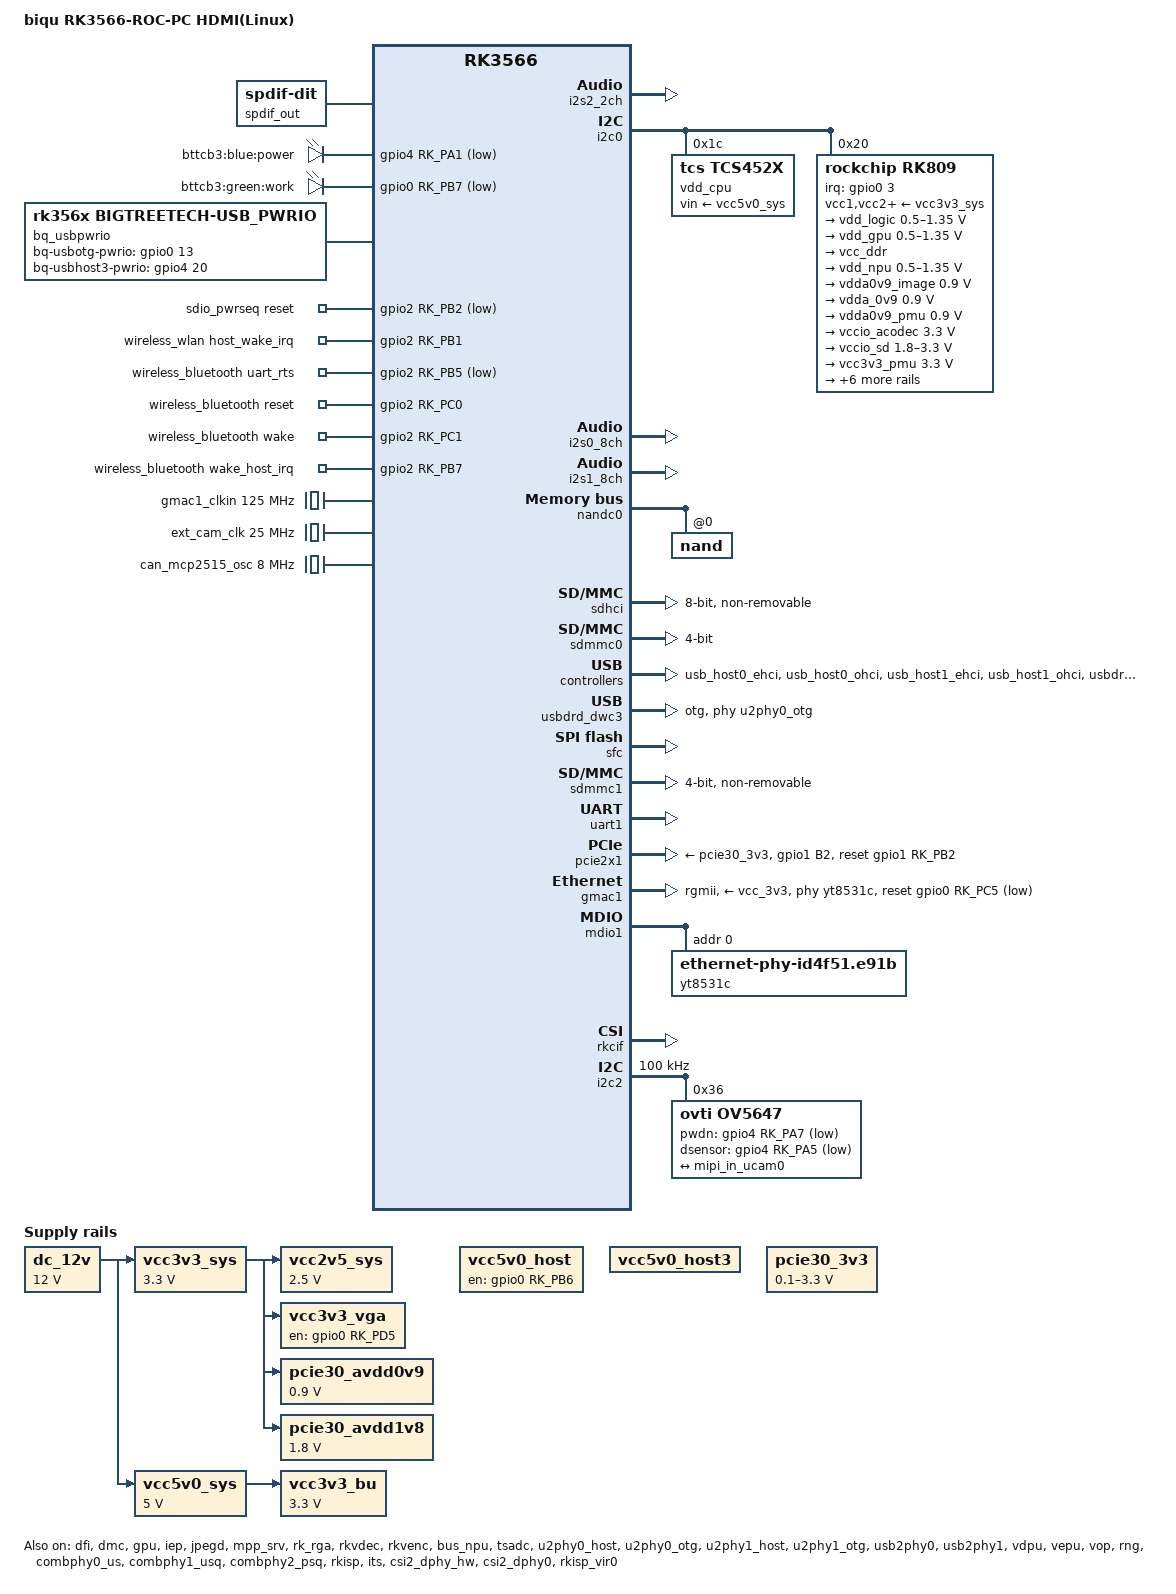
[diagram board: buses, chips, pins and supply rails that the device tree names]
// SPDX-License-Identifier: (GPL-2.0+ OR MIT)
/*
 * Copyright (c) 2021 Rockchip Electronics Co., Ltd.
 *
 */
// SPDX-License-Identifier: (GPL-2.0+ OR MIT)
/*
 * Copyright (c) 2020 Rockchip Electronics Co., Ltd.
 *
 */
 /dts-v1/;

#include <dt-bindings/gpio/gpio.h>
#include <dt-bindings/pwm/pwm.h>
#include <dt-bindings/pinctrl/rockchip.h>
#include <dt-bindings/input/rk-input.h>
#include <dt-bindings/display/drm_mipi_dsi.h>
#include <dt-bindings/sensor-dev.h>
#include "rk3568.dtsi"
#include "bq-cb2-display.dtsi"
#include "bq-cb2-hdmi.dtsi"
 

/ {

	model = "biqu RK3566-ROC-PC HDMI(Linux)";//(8)
	compatible = "rockchip,rk3566-biqu-cb2-pc", "rockchip,rk3566";//(8)

	aliases {
		ethernet0 = &gmac1;
		mmc0 = &sdmmc0;
		mmc1 = &sdhci;
		mmc2 = &sdmmc1;
	};

	dc_12v: dc-12v {
		compatible = "regulator-fixed";
		regulator-name = "dc_12v";
		regulator-always-on;
		regulator-boot-on;
		regulator-min-microvolt = <12000000>;
		regulator-max-microvolt = <12000000>;
	};
	
	rk809_sound: rk809-sound  {
		status = "okay";
		compatible = "simple-audio-card";
		simple-audio-card,format = "i2s";
		simple-audio-card,name = "rockchip,rk809-codec";
		simple-audio-card,mclk-fs = <256>;
		simple-audio-card,widgets =
		"Microphone", "Mic Jack",
		"Headphone", "Headphone Jack";
		simple-audio-card,routing =
		"Mic Jack", "MICBIAS1",
		"IN1R", "Mic Jack",
		"Headphone Jack", "HPOL",
		"Headphone Jack", "HPOR";
		simple-audio-card,cpu {
			sound-dai = <&i2s1_8ch>;
		};
		simple-audio-card,codec {
			sound-dai = <&rk809_codec>;
		};
	};
	
	bt-sound {
	
		compatible = "simple-audio-card";
		simple-audio-card,format = "dsp_b";
		simple-audio-card,bitclock-inversion = <1>;
		simple-audio-card,mclk-fs = <256>;
		simple-audio-card,name = "rockchip,bt";
		simple-audio-card,cpu {
			sound-dai = <&i2s2_2ch>; 

		};
		simple-audio-card,codec {
			sound-dai = <&bt_sco>;
		};
	};
	
	bt_sco: bt-sco {
		compatible = "delta,dfbmcs320";
		#sound-dai-cells = <0>;
		status = "okay";
	};
	
	spdif-sound {
		status = "okay";
		compatible = "simple-audio-card";
		simple-audio-card,name = "ROCKCHIP,SPDIF";
		simple-audio-card,cpu {
				sound-dai = <&spdif_8ch>;
		};
		simple-audio-card,codec {
				sound-dai = <&spdif_out>;
		};
	};

	spdif_out: spdif-out {
			status = "okay";
			compatible = "linux,spdif-dit";
			#sound-dai-cells = <0>;
	};

	vad_sound: vad-sound {
		status = "disabled";
		compatible = "rockchip,multicodecs-card";
		rockchip,card-name = "rockchip,rk3568-vad";
		rockchip,cpu = <&i2s1_8ch>;
		rockchip,codec = <&rk809_codec>, <&vad>;
	};

	vcc3v3_sys: vcc3v3-sys {
		compatible = "regulator-fixed";
		regulator-name = "vcc3v3_sys";
		regulator-always-on;
		regulator-boot-on;
		regulator-min-microvolt = <3300000>;
		regulator-max-microvolt = <3300000>;
		vin-supply = <&dc_12v>;
	};

	vcc5v0_sys: vcc5v0-sys {
		compatible = "regulator-fixed";
		regulator-name = "vcc5v0_sys";
		regulator-always-on;
		regulator-boot-on;
		regulator-min-microvolt = <5000000>;
		regulator-max-microvolt = <5000000>;
		vin-supply = <&dc_12v>;
	};

	vcc5v0_host: vcc5v0-host-regulator {
		compatible = "regulator-fixed";
		enable-active-high;
		gpio = <&gpio0 RK_PB6 GPIO_ACTIVE_HIGH>; //,<&gpio4 RK_PC6 GPIO_ACTIVE_HIGH>
		pinctrl-names = "default";
		//pinctrl-0 = <&vcc5v0_host_en>;
		pinctrl-0 = <&vcc5v0_host_vbus_en>;
		regulator-name = "vcc5v0_host";
		regulator-boot-on;
		regulator-always-on;
		
	};
	
    bttcb3_leds: leds {
       compatible = "gpio-leds";
       pi_led: power {
           label = "bttcb3:blue:power";
           linux,default-trigger = "";
           default-state = "on";
           gpios = <&gpio4 RK_PA1 GPIO_ACTIVE_LOW>;
           pinctrl-names = "default";
           pinctrl-0 = <&pi_power>;
       };

       work_led: work {
           label = "bttcb3:green:work";
           linux,default-trigger = "ir-user-click";
           default-state = "heartbeat";
           gpios = <&gpio0 RK_PB7 GPIO_ACTIVE_LOW>;
           pinctrl-names = "default";
           pinctrl-0 = <&working_led>;
       };
   };
	
	vcc5v0_host3: vcc5v0-host3-regulator {
		compatible = "regulator-fixed";
		enable-active-high;
		//gpio = <&gpio4 RK_PC6 GPIO_ACTIVE_HIGH>;
		pinctrl-names = "default";
		//pinctrl-0 = <&vcc5v0_host_en>;
		pinctrl-0 = <&vcc5v0_host3_vbus_en>;
		regulator-name = "vcc5v0_host";
		regulator-boot-on;
		regulator-always-on;
		
	};

	vcc5v0_otg: vcc5v0-otg-regulator {
		compatible = "regulator-fixed";
		enable-active-high;
		gpio = <&gpio0 RK_PA5 GPIO_ACTIVE_HIGH>;
		pinctrl-names = "default";
		pinctrl-0 = <&vcc5v0_otg_en>;
		regulator-name = "vcc5v0_otg";
	};

    bq_usbpwrio: bq_usbpwrio {
        status = "okay";
        compatible = "rk356x,bigtreetech-usb_pwrio";
		bq-usbotg-pwrio = <&gpio0 13 GPIO_ACTIVE_HIGH>;          /* GPIO0_B5 */
        bq-usbhost3-pwrio = <&gpio4 20 GPIO_ACTIVE_HIGH>;          /* GPIO4_C4 */    
    };

	fiq-debugger {
		compatible = "rockchip,fiq-debugger";
		rockchip,serial-id = <2>;
		rockchip,wake-irq = <0>;
		/* If enable uart uses irq instead of fiq */
		rockchip,irq-mode-enable = <1>;
		rockchip,baudrate = <1500000>;  /* Only 115200 and 1500000 */
		interrupts = <GIC_SPI 252 IRQ_TYPE_LEVEL_LOW>;
		pinctrl-names = "default";
		pinctrl-0 = <&uart2m0_xfer>;
		status = "okay";
	};

	debug: debug@fd904000 {
		compatible = "rockchip,debug";
		reg = <0x0 0xfd904000 0x0 0x1000>,
			<0x0 0xfd905000 0x0 0x1000>,
			<0x0 0xfd906000 0x0 0x1000>,
			<0x0 0xfd907000 0x0 0x1000>;
	};

	cspmu: cspmu@fd90c000 {
		compatible = "rockchip,cspmu";
		reg = <0x0 0xfd90c000 0x0 0x1000>,
			<0x0 0xfd90d000 0x0 0x1000>,
			<0x0 0xfd90e000 0x0 0x1000>,
			<0x0 0xfd90f000 0x0 0x1000>;
	};
	
//	rk_headset: rk-headset {
//		compatible = "rockchip_headset";
//		headset_gpio = <&gpio0 RK_PC6 GPIO_ACTIVE_HIGH>;
//		pinctrl-names = "default";
//		pinctrl-0 = <&hp_det>;
//		//io-channels = <&saradc 3>;	//HP_HOOK
//	};

	vcc2v5_sys: vcc2v5-ddr {
		compatible = "regulator-fixed";
		regulator-name = "vcc2v5-sys";
		regulator-always-on;
		regulator-boot-on;
		regulator-min-microvolt = <2500000>;
		regulator-max-microvolt = <2500000>;
		vin-supply = <&vcc3v3_sys>;
	};

	vcc3v3_vga: vcc3v3-vga {
		compatible = "regulator-fixed";
		regulator-name = "vcc3v3_vga";
		regulator-always-on;
		regulator-boot-on;
		gpio = <&gpio0 RK_PD5 GPIO_ACTIVE_HIGH>;
		enable-active-high;
		vin-supply = <&vcc3v3_sys>;
	};

	pcie30_avdd0v9: pcie30-avdd0v9 {
		compatible = "regulator-fixed";
		regulator-name = "pcie30_avdd0v9";
		regulator-always-on;
		regulator-boot-on;
		regulator-min-microvolt = <900000>;
		regulator-max-microvolt = <900000>;
		vin-supply = <&vcc3v3_sys>;
	};

	pcie30_avdd1v8: pcie30-avdd1v8 {
		compatible = "regulator-fixed";
		regulator-name = "pcie30_avdd1v8";
		regulator-always-on;
		regulator-boot-on;
		regulator-min-microvolt = <1800000>;
		regulator-max-microvolt = <1800000>;
		vin-supply = <&vcc3v3_sys>;
	};

	pcie30_3v3: gpio-regulator {
		compatible = "regulator-gpio";
		regulator-name = "pcie30_3v3";
		regulator-min-microvolt = <100000>;
		regulator-max-microvolt = <3300000>;
		gpios = <&gpio0 RK_PD4 GPIO_ACTIVE_HIGH>;
		gpios-states = <0x1>;
		states = <100000 0x0
			  3300000 0x1>;
	};

	vcc3v3_bu: vcc3v3-bu {
		compatible = "regulator-fixed";
		regulator-name = "vcc3v3_bu";
		regulator-always-on;
		regulator-boot-on;
		regulator-min-microvolt = <3300000>;
		regulator-max-microvolt = <3300000>;
		vin-supply = <&vcc5v0_sys>;
	};

	sdio_pwrseq: sdio-pwrseq {
		compatible = "mmc-pwrseq-simple";
		clocks = <&rk809 1>;
		clock-names = "ext_clock";
		pinctrl-names = "default";
		pinctrl-0 = <&wifi_enable_h>;
		/*
			* On the module itself this is one of these (depending
			* on the actual card populated):
			* - SDIO_RESET_L_WL_REG_ON
			* - PDN (power down when low)
		*/
		reset-gpios = <&gpio2 RK_PB2 GPIO_ACTIVE_LOW>;//cb2-v2 <&gpio0 RK_PA5 GPIO_ACTIVE_LOW>;
	};

	wireless_wlan: wireless-wlan {
		compatible = "wlan-platdata";
		rockchip,grf = <&grf>;
		wifi_chip_type = "ap6398s";//"rtl8733bs";
		pinctrl-names = "default";
		pinctrl-0 = <&wifi_host_wake_irq>;
		WIFI,host_wake_irq = <&gpio2 RK_PB1 GPIO_ACTIVE_HIGH>;//WIFI模块唤醒CPU的 cb2-v2 <&gpio0 RK_PC5 GPIO_ACTIVE_HIGH>;
		status = "okay";
	};
	
//	##############
wireless_bluetooth: wireless-bluetooth {
    compatible = "bluetooth-platdata";
    clocks = <&rk809 1>;
    clock-names = "ext_clock";
    uart_rts_gpios = <&gpio2 RK_PB5 GPIO_ACTIVE_LOW>;
    pinctrl-names = "default", "rts_gpio";
    pinctrl-0 = <&uart1m0_rtsn
        &bt_host_wake_gpio
        &bt_poweren
        &bt_host_wake_irq>;
    pinctrl-1 = <&uart1_rts_gpio>;
    //BT,reset_gpio    = <&gpio2 RK_PB7 GPIO_ACTIVE_HIGH>;
	BT,reset_gpio    = <&gpio2 RK_PC0 GPIO_ACTIVE_HIGH>;
    BT,wake_gpio     = <&gpio2 RK_PC1 GPIO_ACTIVE_HIGH>;
    //BT,wake_host_irq = <&gpio2 RK_PC0 GPIO_ACTIVE_HIGH>;
	BT,wake_host_irq = <&gpio2 RK_PB7 GPIO_ACTIVE_HIGH>;

    status = "okay";
};
	
//	##################
aliases {
		/delete-property/ ethernet0;
};

sd_vcc3v3_power: sd-vcc3v3-power {
		status = "disabled";
        compatible = "regulator-fixed";
        enable-active-high;
        gpio = <&gpio0 RK_PA5 GPIO_ACTIVE_HIGH>;
        pinctrl-names = "default";
        pinctrl-0 = <&sd_vcc3v3_power_en>;
        regulator-name = "sd_vcc3v3_power_en";
        regulator-min-microvolt = <3300000>;
        regulator-max-microvolt = <3300000>;
        regulator-always-on;
        regulator-boot-on;
        regulator-state-mem {
            regulator-off-in-suspend;
        };
   };

   	gmac1_clkin: external-gmac1-clock {
		compatible = "fixed-clock";
		clock-frequency = <125000000>;
		clock-output-names = "gmac1_clkin";
		#clock-cells = <0>;
	};

	ext_cam_clk: ext-cam-clk {
		status = "okay";
		compatible = "fixed-clock";
		clock-frequency = <25000000>;
		clock-output-names = "ext_cam_clk";
		#clock-cells = <0>;
	};
	can_mcp2515_osc: can-mcp2515-osc {
		compatible = "fixed-clock";
		clock-frequency = <8000000>;
		#clock-cells = <0>;
	};

};

&i2s2_2ch {
	#sound-dai-cells = <0>;
	status = "okay";
};

&cpu0 {
	cpu-supply = <&vdd_cpu>;
};

&dfi {
	status = "okay";
};

&dmc {
	center-supply = <&vdd_logic>;
	status = "okay";
};

&gpu {
	mali-supply = <&vdd_gpu>;
	status = "okay";
};

&i2c0 {
	status = "okay";

	vdd_cpu: tcs4525@1c {
		compatible = "tcs,tcs452x";
		reg = <0x1c>;
		vin-supply = <&vcc5v0_sys>;
		regulator-compatible = "fan53555-reg";
		regulator-name = "vdd_cpu";
		regulator-min-microvolt = <712500>;
		regulator-max-microvolt = <1390000>;
		regulator-ramp-delay = <2300>;
		fcs,suspend-voltage-selector = <1>;
		regulator-boot-on;
		regulator-always-on;
		regulator-state-mem {
			regulator-off-in-suspend;
		};
	};

	rk809: pmic@20 {
		compatible = "rockchip,rk809";
		reg = <0x20>;
		interrupt-parent = <&gpio0>;
		interrupts = <3 IRQ_TYPE_LEVEL_LOW>;

		pinctrl-names = "default", "pmic-sleep",
				"pmic-power-off", "pmic-reset";
		pinctrl-0 = <&pmic_int>;
		pinctrl-1 = <&soc_slppin_slp>, <&rk817_slppin_slp>;
		pinctrl-2 = <&soc_slppin_gpio>, <&rk817_slppin_pwrdn>;
		pinctrl-3 = <&soc_slppin_gpio>, <&rk817_slppin_rst>;

		rockchip,system-power-controller;
		wakeup-source;
		#clock-cells = <1>;
		clock-output-names = "rk808-clkout1", "rk808-clkout2";
		//fb-inner-reg-idxs = <2>;
		/* 1: rst regs (default in codes), 0: rst the pmic */
		pmic-reset-func = <0>;
		/* not save the PMIC_POWER_EN register in uboot */
		not-save-power-en = <1>;

		vcc1-supply = <&vcc3v3_sys>;
		vcc2-supply = <&vcc3v3_sys>;
		vcc3-supply = <&vcc3v3_sys>;
		vcc4-supply = <&vcc3v3_sys>;
		vcc5-supply = <&vcc3v3_sys>;
		vcc6-supply = <&vcc3v3_sys>;
		vcc7-supply = <&vcc3v3_sys>;
		vcc8-supply = <&vcc3v3_sys>;
		vcc9-supply = <&vcc3v3_sys>;

		pwrkey {
			status = "okay";
		};

		pinctrl_rk8xx: pinctrl_rk8xx {
			gpio-controller;
			#gpio-cells = <2>;

			rk817_slppin_null: rk817_slppin_null {
				pins = "gpio_slp";
				function = "pin_fun0";
			};

			rk817_slppin_slp: rk817_slppin_slp {
				pins = "gpio_slp";
				function = "pin_fun1";
			};

			rk817_slppin_pwrdn: rk817_slppin_pwrdn {
				pins = "gpio_slp";
				function = "pin_fun2";
			};

			rk817_slppin_rst: rk817_slppin_rst {
				pins = "gpio_slp";
				function = "pin_fun3";
			};
		};

		regulators {
			vdd_logic: DCDC_REG1 {
				regulator-always-on;
				regulator-boot-on;
				regulator-min-microvolt = <500000>;
				regulator-max-microvolt = <1350000>;
				regulator-init-microvolt = <900000>;
				regulator-ramp-delay = <6001>;
				regulator-initial-mode = <0x2>;
				regulator-name = "vdd_logic";
				regulator-state-mem {
					regulator-off-in-suspend;
				};
			};

			vdd_gpu: DCDC_REG2 {
				regulator-always-on;
				regulator-boot-on;
				regulator-min-microvolt = <500000>;
				regulator-max-microvolt = <1350000>;
				regulator-init-microvolt = <900000>;
				regulator-ramp-delay = <6001>;
				regulator-initial-mode = <0x2>;
				regulator-name = "vdd_gpu";
				regulator-state-mem {
					regulator-off-in-suspend;
				};
			};

			vcc_ddr: DCDC_REG3 {
				regulator-always-on;
				regulator-boot-on;
				regulator-initial-mode = <0x2>;
				regulator-name = "vcc_ddr";
				regulator-state-mem {
					regulator-on-in-suspend;
				};
			};

			vdd_npu: DCDC_REG4 {
				regulator-always-on;
				regulator-boot-on;
				regulator-min-microvolt = <500000>;
				regulator-max-microvolt = <1350000>;
				regulator-init-microvolt = <900000>;
				regulator-ramp-delay = <6001>;
				regulator-initial-mode = <0x2>;
				regulator-name = "vdd_npu";
				regulator-state-mem {
					regulator-off-in-suspend;
				};
			};

			vdda0v9_image: LDO_REG1 {
				regulator-boot-on;
				regulator-always-on;
				regulator-min-microvolt = <900000>;
				regulator-max-microvolt = <900000>;
				regulator-name = "vdda0v9_image";
				regulator-state-mem {
					regulator-off-in-suspend;
				};
			};

			vdda_0v9: LDO_REG2 {
				regulator-always-on;
				regulator-boot-on;
				regulator-min-microvolt = <900000>;
				regulator-max-microvolt = <900000>;
				regulator-name = "vdda_0v9";
				regulator-state-mem {
					regulator-off-in-suspend;
				};
			};

			vdda0v9_pmu: LDO_REG3 {
				regulator-always-on;
				regulator-boot-on;
				regulator-min-microvolt = <900000>;
				regulator-max-microvolt = <900000>;
				regulator-name = "vdda0v9_pmu";
				regulator-state-mem {
					regulator-on-in-suspend;
					regulator-suspend-microvolt = <900000>;
				};
			};

			vccio_acodec: LDO_REG4 {
				regulator-always-on;
				regulator-boot-on;
				regulator-min-microvolt = <3300000>;
				regulator-max-microvolt = <3300000>;
				regulator-name = "vccio_acodec";
				regulator-state-mem {
					regulator-off-in-suspend;
				};
			};

			vccio_sd: LDO_REG5 {
				regulator-always-on;
				regulator-boot-on;
				regulator-min-microvolt = <1800000>;
				regulator-max-microvolt = <3300000>;
				regulator-name = "vccio_sd";
				regulator-state-mem {
					regulator-off-in-suspend;
				};
			};

			vcc3v3_pmu: LDO_REG6 {
				regulator-always-on;
				regulator-boot-on;
				regulator-min-microvolt = <3300000>;
				regulator-max-microvolt = <3300000>;
				regulator-name = "vcc3v3_pmu";
				regulator-state-mem {
					regulator-on-in-suspend;
					regulator-suspend-microvolt = <3300000>;
				};
			};

			vcca_1v8: LDO_REG7 {
				regulator-always-on;
				regulator-boot-on;
				regulator-min-microvolt = <1800000>;
				regulator-max-microvolt = <1800000>;
				regulator-name = "vcca_1v8";
				regulator-state-mem {
					regulator-off-in-suspend;
				};
			};

			vcca1v8_pmu: LDO_REG8 {
				regulator-always-on;
				regulator-boot-on;
				regulator-min-microvolt = <1800000>;
				regulator-max-microvolt = <1800000>;
				regulator-name = "vcca1v8_pmu";
				regulator-state-mem {
					regulator-on-in-suspend;
					regulator-suspend-microvolt = <1800000>;
				};
			};

			vcca1v8_image: LDO_REG9 {
				regulator-always-on;
				regulator-boot-on;
				regulator-min-microvolt = <1800000>;
				regulator-max-microvolt = <1800000>;
				regulator-name = "vcca1v8_image";
				regulator-state-mem {
					regulator-off-in-suspend;
				};
			};

			vcc_1v8: DCDC_REG5 {
				regulator-always-on;
				regulator-boot-on;
				regulator-min-microvolt = <1800000>;
				regulator-max-microvolt = <1800000>;
				regulator-name = "vcc_1v8";
				regulator-state-mem {
					regulator-off-in-suspend;
				};
			};

			vcc_3v3: SWITCH_REG1 {
				regulator-always-on;
				regulator-boot-on;
				regulator-name = "vcc_3v3";
				regulator-state-mem {
					regulator-off-in-suspend;
				};
			};

			vcc3v3_sd: SWITCH_REG2 {
				regulator-always-on;
				regulator-boot-on;
				regulator-name = "vcc3v3_sd";
				regulator-state-mem {
					regulator-off-in-suspend;
				};
			};
		};
		
		rk809_codec: codec {
			#sound-dai-cells = <0>;
			compatible = "rockchip,rk809-codec", "rockchip,rk817-codec";
			clocks = <&cru I2S1_MCLKOUT>;
			clock-names = "mclk";
			assigned-clocks = <&cru I2S1_MCLKOUT>, <&cru I2S1_MCLK_TX_IOE>;
			assigned-clock-rates = <12288000>;
			assigned-clock-parents = <&cru I2S1_MCLKOUT_TX>, <&cru I2S1_MCLKOUT_TX>;
			pinctrl-names = "default";
			pinctrl-0 = <&i2s1m0_mclk>;
			hp-volume = <20>;
			spk-volume = <3>;
			mic-in-differential;
			status = "okay";
		};
		
		
	};
};

&i2s0_8ch {
	status = "okay";
};

&i2s1_8ch {
	status = "okay";
	rockchip,clk-trcm = <1>;
	pinctrl-names = "default";
	pinctrl-0 = <&i2s1m0_sclktx
		     &i2s1m0_lrcktx
		     &i2s1m0_sdi0
		     &i2s1m0_sdo0>;
};

&iep {
	status = "okay";
};

&iep_mmu {
	status = "okay";
};

&jpegd {
	status = "okay";
};

&jpegd_mmu {
	status = "okay";
};

&mpp_srv {
	status = "okay";
};

&nandc0 {
	#address-cells = <1>;
	#size-cells = <0>;
	status = "okay";

	nand@0 {
		reg = <0>;
		nand-bus-width = <8>;
		nand-ecc-mode = "hw";
		nand-ecc-strength = <16>;
		nand-ecc-step-size = <1024>;
	};
};

&pmu_io_domains {
	status = "okay";
	pmuio1-supply = <&vcc3v3_pmu>;
	pmuio2-supply = <&vcc3v3_pmu>;
	vccio1-supply = <&vccio_acodec>;
	vccio3-supply = <&vccio_sd>;
	vccio4-supply = <&vcc_1v8>;
	vccio5-supply = <&vcc_3v3>;
	vccio6-supply = <&vcc_3v3>;
	vccio7-supply = <&vcc_3v3>;
};

&rk_rga {
	status = "okay";
};

&rkvdec {
	status = "okay";
};

&rkvdec_mmu {
	status = "okay";
};

&rkvenc {
	venc-supply = <&vdd_logic>;
	status = "okay";
};

&rkvenc_mmu {
	status = "okay";
};

&rknpu {
	rknpu-supply = <&vdd_npu>;
	status = "disabled";
};

&rknpu_mmu {
	status = "disabled";
};

&bus_npu {
	bus-supply = <&vdd_logic>;
	pvtm-supply = <&vdd_cpu>;
	status = "okay";
};

//&saradc {
//	status = "okay";
//	vref-supply = <&vcca_1v8>;
//};

&sdhci {
	bus-width = <8>;
	supports-emmc;
	non-removable;
	max-frequency = <200000000>;
	status = "okay";
};

&sdmmc0 {
	max-frequency = <150000000>;
	supports-sd;
	bus-width = <4>;
	cap-mmc-highspeed;
	cap-sd-highspeed;
	disable-wp;
	sd-uhs-sdr104;
	vmmc-supply = <&vcc3v3_sd>;
	vqmmc-supply = <&vccio_sd>;
	pinctrl-names = "default";
	pinctrl-0 = <&sdmmc0_bus4 &sdmmc0_clk &sdmmc0_cmd &sdmmc0_det>;
	status = "okay";
};

&spdif_8ch {
	status = "okay";
};

&tsadc {
	status = "okay";
};

&u2phy0_host {
	phy-supply = <&vcc5v0_host>,<&vcc5v0_host3>;
	status = "okay";
};

&u2phy0_otg {
	vbus-supply = <&vcc5v0_otg>;
	status = "okay";
};

&u2phy1_host {
	phy-supply = <&vcc5v0_host>;
	status = "okay";
};

&u2phy1_otg {
	phy-supply = <&vcc5v0_host>;
	status = "okay";
};

&usb2phy0 {
	status = "okay";
};

&usb2phy1 {
	status = "okay";
};

&usb_host0_ehci {
	status = "okay";
};

&usb_host0_ohci {
	status = "okay";
};

&usb_host1_ehci {
	status = "okay";
};

&usb_host1_ohci {
	status = "okay";
};

&usbdrd_dwc3 {
	dr_mode = "otg";
	extcon = <&usb2phy0>;
	status = "okay";
};

&usbdrd30 {
	status = "okay";
};

&usbhost_dwc3 {
	status = "okay";
};

&usbhost30 {
	status = "okay";
};

&vad {
	rockchip,audio-src = <&i2s1_8ch>;
	rockchip,buffer-time-ms = <128>;
	rockchip,det-channel = <0>;
	rockchip,mode = <0>;
};

&vdpu {
	status = "okay";
};

&vdpu_mmu {
	status = "okay";
};

&vepu {
	status = "okay";
};

&vepu_mmu {
	status = "okay";
};

&vop {
	status = "okay";
	assigned-clocks = <&cru DCLK_VOP0>, <&cru DCLK_VOP1>;
	assigned-clock-parents = <&pmucru PLL_HPLL>, <&cru PLL_VPLL>;
	disable-win-move;

};

&vop_mmu {
	status = "okay";
};

&pinctrl {

	pmic {
		pmic_int: pmic_int {
			rockchip,pins =
				<0 RK_PA3 RK_FUNC_GPIO &pcfg_pull_up>;
		};

		soc_slppin_gpio: soc_slppin_gpio {
			rockchip,pins =
				<0 RK_PA2 RK_FUNC_GPIO &pcfg_output_low_pull_down>;
		};

		soc_slppin_slp: soc_slppin_slp {
			rockchip,pins =
				<0 RK_PA2 RK_FUNC_1 &pcfg_pull_up>;
		};

		soc_slppin_rst: soc_slppin_rst {
			rockchip,pins =
				<0 RK_PA2 RK_FUNC_2 &pcfg_pull_none>;
		};

		spk_ctl_gpio: spk_ctl_gpio {
			rockchip,pins = <3 RK_PC5 RK_FUNC_GPIO &pcfg_pull_up>;
		};
	};

	usb {

		vcc5v0_otg_en: vcc5v0-otg-en {
			//rockchip,pins = <0 RK_PA5 RK_FUNC_GPIO &pcfg_pull_none>;
			rockchip,pins = <0 RK_PB5 RK_FUNC_GPIO &pcfg_pull_none>;
		};

		vcc5v0_host_vbus_en: vcc5v0-host-en {
			//rockchip,pins = <0 RK_PA6 RK_FUNC_GPIO &pcfg_pull_none>;
			rockchip,pins = <0 RK_PB6 RK_FUNC_GPIO &pcfg_pull_none>;
		};
		
//		vcc5v0_host2_vbus_en: vcc5v0-host2-en {
//			//rockchip,pins = <0 RK_PA6 RK_FUNC_GPIO &pcfg_pull_none>;
//			rockchip,pins = <4 RK_PC5 RK_FUNC_GPIO &pcfg_pull_none>;
//		};
		
		vcc5v0_host3_vbus_en: vcc5v0-host3-en {
			//rockchip,pins = <0 RK_PA6 RK_FUNC_GPIO &pcfg_pull_none>;
			rockchip,pins = <4 RK_PC6 RK_FUNC_GPIO &pcfg_pull_none>;
		};
	};

//	headphone {
//		hp_det: hp-det {
//			rockchip,pins = <0 RK_PC6 RK_FUNC_GPIO &pcfg_pull_down>;
//		};
//	};

	sdio-pwrseq {
		wifi_enable_h: wifi-enable-h {
			rockchip,pins =<2 RK_PB2 RK_FUNC_GPIO &pcfg_pull_none>;// cb2-v2 <0 RK_PA5 RK_FUNC_GPIO &pcfg_pull_none>;
		};
	};

	wireless-wlan {
		wifi_host_wake_irq: wifi-host-wake-irq {
			rockchip,pins = <2 RK_PB1 RK_FUNC_GPIO &pcfg_pull_down>;//cb2-v2 <0 RK_PC5 RK_FUNC_GPIO &pcfg_pull_down>;
		};
	};

	touch {
		touch_gpio: touch-gpio {
			rockchip,pins =
				<0 RK_PB5 RK_FUNC_GPIO &pcfg_pull_up>,
				<0 RK_PB6 RK_FUNC_GPIO &pcfg_pull_none>;
		};
	};

	mxc6655xa {
		mxc6655xa_irq_gpio: mxc6655xa_irq_gpio {
			rockchip,pins = <RK_GPIO3 RK_PC1 RK_FUNC_GPIO &pcfg_pull_none>;
		};
	};

	sd {
		sd_vcc3v3_power_en: sd-vcc3v3-power-en {
			rockchip,pins = <0 RK_PA5 RK_FUNC_GPIO &pcfg_pull_none>;
		};
	};

	wireless-bluetooth {
        uart1_rts_gpio: uart1-rts-gpio {
            rockchip,pins = <2  RK_PB5 RK_FUNC_GPIO &pcfg_pull_none>;
        };

        bt_host_wake_irq: bt-host-wake-irq {
           // rockchip,pins = <2 RK_PC0 RK_FUNC_GPIO &pcfg_pull_down>; pi2-v3
		   rockchip,pins = <2 RK_PB7 RK_FUNC_GPIO &pcfg_pull_down>;
        };
        bt_host_wake_gpio: bt-host-wake-gpio {
            rockchip,pins = <2 RK_PC1 RK_FUNC_GPIO &pcfg_pull_down>;
        };
        bt_poweren: bt-poweren {
           // rockchip,pins = <2 RK_PB7 RK_FUNC_GPIO &pcfg_pull_down>;
		   rockchip,pins = <2 RK_PC0 RK_FUNC_GPIO &pcfg_pull_down>;
        };
    };
	

	pcie {
		pcie_reset_gpio: pcie-reset-gpio {
				rockchip,pins = <1 RK_PB2 RK_FUNC_GPIO &pcfg_pull_none>;
			};
	};


	
	leds {
        pi_power: pi-power {
            rockchip,pins = <4 RK_PA1 RK_FUNC_GPIO &pcfg_pull_none>;
        };

        working_led: working-led {
            rockchip,pins = <0 RK_PB7 RK_FUNC_GPIO &pcfg_pull_none>;
        };
    };

};

&reserved_memory {
	ramoops: ramoops@110000 {
		compatible = "ramoops";
		reg = <0x0 0x110000 0x0 0xf0000>;
		record-size = <0x20000>;
		console-size = <0x80000>;
		ftrace-size = <0x00000>;
		pmsg-size = <0x50000>;
	};
};

&rng {
	status = "okay";
};

&rockchip_suspend {
	status = "okay";
};

&combphy0_us {
	status = "okay";
};

&combphy1_usq {
	status = "okay";
};

&combphy2_psq {
	status = "okay";
};

&pcie30phy {
	status = "disabled";
};

&pcie3x2 {
	reset-gpios = <&gpio2 RK_PD6 GPIO_ACTIVE_HIGH>;
	vpcie3v3-supply = <&pcie30_3v3>;
	status = "disabled";
};

&sata2 {
	status = "disabled";
};


&spdif_8ch {
	status = "disabled";
	pinctrl-names = "default";
	pinctrl-0 = <&spdifm1_tx>;
};

&spi1 {
	status = "disabled";
	max-freq = <10000000>;
	pinctrl-0=<&spi1m1_pins>;
	#address-cells = <1>;
	#size-cells = <0>;
	cs-gpios = <&gpio4 RK_PC6 GPIO_ACTIVE_LOW>,
			<&gpio3 RK_PA1 GPIO_ACTIVE_LOW>,
			<&gpio4 RK_PA2 GPIO_ACTIVE_LOW>;
	can_mcp2515: can-mcp2515@0 {
		status = "disabled";
		compatible = "microchip,mcp2515";
		reg = <0>;
		interrupt-parent = <&gpio4>;
		interrupts = <RK_PA3 IRQ_TYPE_LEVEL_LOW>;
		spi-max-frequency = <1000000>;
		clocks = <&can_mcp2515_osc>;
		vdd-supply = <&vcc3v3_sys>;
		xceiver-supply = <&vcc3v3_sys>;
		pinctrl-names = "default";
		pinctrl-0 = <&mcp2515_int_pin>;
	};

	tft_35: st7789v@1 {
		status = "disabled";
		compatible = "sitronix,st7796s";
		reg = <1>;
		spi-max-frequency =<12500000>;
		fps =<60>;
		buswidth = <8>;
		rotate =<0>;
		width = <480>;
		height = <320>;
		bpp = <24>;
		bgr;
		regwidth = <8>;
		debug = <0x00>;	 //0x20 show fps
		txbuflen = <8192>;
		spi-cpol;
		spi-cpha;
		dc-gpios  = <&gpio0 RK_PC7 GPIO_ACTIVE_HIGH>;
	};
	
	mcp2515_int_pin {
		mcp2515_int_pin: mcp2515_int_pin {
			rockchip,pins = <4 RK_PA3 RK_FUNC_GPIO &pcfg_pull_up>;
		};
	};
};

&spi2 {
	status = "disabled";
	max-freq = <10000000>;
	pinctrl-0=<&spi2m0_pins>;
};

&spi3 {
	status = "disabled";
	max-freq = <10000000>;
	pinctrl-0=<&spi3m1_pins>;
};

&i2c3{
	status = "disabled";
	pinctrl-names = "default";
  	pinctrl-0 = <&i2c3m0_xfer>;
	tft_tp: ns2009@48 {
		compatible = "ti,tsc2007";
		reg = <0x48>;
		status = "okay";
		ti,x-plate-ohms = <660>;
		ti,rt-thr = <3000>;
		ti,fuzzx = <32>;
		ti,fuzzy = <16>;
		i2c,ignore-nak = <1>;
	};
};

&sfc{
    pinctrl-names = "default";
    pinctrl-0 = <&fspi_pins>;
    assigned-clock-rates = <50000000>;
    status = "okay";
};


&cpu0_opp_table {
	/delete-node/ opp-1992000000;
};

&dmc {
	system-status-freq = <
		/*system status         freq(KHz)*/
		SYS_STATUS_NORMAL       780000
		SYS_STATUS_REBOOT       1056000
		SYS_STATUS_SUSPEND      324000
		SYS_STATUS_VIDEO_1080P  528000
		SYS_STATUS_BOOST        1056000
		SYS_STATUS_ISP          1056000
		SYS_STATUS_PERFORMANCE  1056000
	>;
};

&dmc_opp_table {
	opp-1056000000 {
		opp-hz = /bits/ 64 <1056000000>;
		opp-microvolt = <900000>;
		opp-microvolt-L0 = <900000>;
		opp-microvolt-L1 = <850000>;
	};
	/delete-node/ opp-1560000000;
};

&power {
	pd_pipe@RK3568_PD_PIPE {
		reg = <RK3568_PD_PIPE>;
		clocks = <&cru PCLK_PIPE>;
		pm_qos = <&qos_pcie2x1>,
			 <&qos_sata0>,
			 <&qos_sata1>,
			 <&qos_usb3_0>,
			 <&qos_usb3_1>;
	};
};

&rkisp {
	rockchip,iq-feature = /bits/ 64 <0x3FBF7FE67FF>;
};

&usbdrd_dwc3 {
	phys = <&u2phy0_otg>;
	phy-names = "usb2-phy";
	extcon = <&usb2phy0>;
	maximum-speed = "high-speed";
	snps,dis_u2_susphy_quirk;
};

/delete-node/ &gmac0_clkin;
/delete-node/ &gmac0_xpcsclk;
/delete-node/ &gmac0;
/delete-node/ &pcie30_phy_grf;
/delete-node/ &pcie30phy;
/delete-node/ &pcie3x1;
/delete-node/ &pcie3x2;
/delete-node/ &qos_pcie3x1;
/delete-node/ &qos_pcie3x2;
/delete-node/ &qos_sata2;
/delete-node/ &sata2;

&vcc5v0_otg {
	status = "disabled";
};

&u2phy0_otg {
	/delete-property/ vbus-supply;
};

/* sdcard config */
&sdmmc0 {
    /delete-property/ vmmc-supply;
};

/* WiFi config */
&sdmmc1 {
    max-frequency = <150000000>;
    supports-sdio;
    bus-width = <4>;
    disable-wp;
    cap-sd-highspeed;
    cap-sdio-irq;
    keep-power-in-suspend;
    mmc-pwrseq = <&sdio_pwrseq>;
    non-removable;
    pinctrl-names = "default";
    pinctrl-0 = <&sdmmc1_bus4 &sdmmc1_cmd &sdmmc1_clk>;
    sd-uhs-sdr104;
    rockchip,default-sample-phase = <90>;
    status = "okay";
};


// iomux with GPIO2_B2(WIFI,host_wake_irq)
&uart8 {
    status = "disabled";
};


/* BT config */

&uart1 {
    pinctrl-names = "default";
    pinctrl-0 = <&uart1m0_xfer &uart1m0_ctsn>;
    status = "okay";
};

&uart3 {
	pinctrl-names = "default";
	pinctrl-0 = <&uart3m0_xfer>;
    status = "disabled";
};

&uart5 {
	pinctrl-names = "default";
	pinctrl-0 = <&uart5m1_xfer>;
    status = "disabled";
};

&uart7 {
	pinctrl-names = "default";
	pinctrl-0 = <&uart7m2_xfer>;
    status = "disabled";
};

&spk_ctl_gpio{
	rockchip,pins = <0 RK_PA6 RK_FUNC_GPIO &pcfg_pull_up>;
};

&pcie2x1 {
    reset-gpios = <&gpio1 RK_PB2 GPIO_ACTIVE_HIGH>;
    pinctrl-names = "default";
    pinctrl-0 = <&pcie_reset_gpio>;
	vpcie3v3-supply = <&pcie30_3v3>;
    status = "okay";
};

&pcie30_3v3 {
	status = "okay";
	gpios = <&gpio4 RK_PB1 GPIO_ACTIVE_HIGH>;
};

&its {
    status = "okay";
};

&gmac1 {
	assigned-clocks = <&cru SCLK_GMAC1_RX_TX>, <&cru SCLK_GMAC1_RGMII_SPEED>, <&cru SCLK_GMAC1>;
	assigned-clock-parents = <&cru SCLK_GMAC1_RGMII_SPEED>, <&cru SCLK_GMAC1>, <&gmac1_clkin>;
	clock_in_out = "input";
	phy-supply = <&vcc_3v3>;
	phy-mode = "rgmii";
	pinctrl-names = "default";
	pinctrl-0 = <&gmac1m0_miim
		     &gmac1m0_tx_bus2
		     &gmac1m0_rx_bus2
		     &gmac1m0_rgmii_clk
		     &gmac1m0_clkinout
		     &gmac1m0_rgmii_bus>;
	snps,reset-gpio = <&gpio0 RK_PC5 GPIO_ACTIVE_LOW>;
	snps,reset-active-low;
	/* Reset time is 20ms, 100ms for rtl8211f */
	snps,reset-delays-us = <0 20000 100000>;
	tx_delay = <0x19>;
	rx_delay = <0x05>;
	phy-handle = <&yt8531c>;
	status = "okay";
};

&mdio1 {
	yt8531c: ethernet-phy@0 {
		compatible = "ethernet-phy-id4f51.e91b", "ethernet-phy-ieee802.3-c22";
		reg = <0x0>;
	};
};

&csi2_dphy_hw {
	status = "okay";
};

&csi2_dphy0 {
	status = "okay";

	ports {
		#address-cells = <1>;
		#size-cells = <0>;

		port@0 {
			reg = <0>;
			#address-cells = <1>;
			#size-cells = <0>;

			mipi_in_ucam0: endpoint@1 {
				reg = <1>;
				remote-endpoint = <&ov5647_out>;
				data-lanes = <1 2>;
			};

		};

		port@1 {
			reg = <1>;
			#address-cells = <1>;
			#size-cells = <0>;

			dphy0_out: endpoint@1 {
				reg = <1>;
				remote-endpoint = <&isp0_in>;
			};
		};
	};
};

&rkisp_vir0 {
	status = "okay";

	port {
		#address-cells = <1>;
		#size-cells = <0>;

		isp0_in: endpoint@0 {
			reg = <0>;
			remote-endpoint = <&dphy0_out>;
		};
	};
};

&rkisp {
	status = "okay";
};

&rkisp_mmu {
	status = "okay";
};

&rkcif_mmu {
	status = "okay";
};

&rkcif {
	status = "okay";
};

&i2c1{
	status = "disabled";
	pinctrl-names = "default";
	pinctrl-0 = <&i2c1_xfer>;
};
&i2c2 {
	status = "okay";
	pinctrl-names = "default";
	clock-frequency = <100000>;
	pinctrl-0 = <&i2c2m1_xfer>;
	avdd-1v8-supply = <&vcca1v8_image>;
	avdd-0v9-supply = <&vdda0v9_image>;
	power-domains = <&power RK3568_PD_VI>;
	#address-cells = <1>;
	#size-cells = <0>;
	ov5647@36 {
		status = "okay";
		compatible = "ovti,ov5647";
		reg = <0x36>;
		clocks = <&ext_cam_clk>;
		clock-names = "ext_cam_ov5647_clk";
		power-domains = <&power RK3568_PD_VI>;
		pwdn-gpios = <&gpio4 RK_PA7 GPIO_ACTIVE_LOW>;
		dsensor-gpios = <&gpio4 RK_PA5 GPIO_ACTIVE_LOW>;
		port {
			ov5647_out: endpoint {
				remote-endpoint =<&mipi_in_ucam0>;//split:dphy1_in full: mipi_in_ucam0
                data-lanes = <1 2>;
            };
        };
	};
};

&i2c3{
	status = "disabled";
	pinctrl-names = "default";
	pinctrl-0 = <&i2c3m0_xfer>;
};

&i2c4{
	status = "disabled";
	pinctrl-names = "default";
	pinctrl-0 = <&i2c4m0_xfer>;
};


